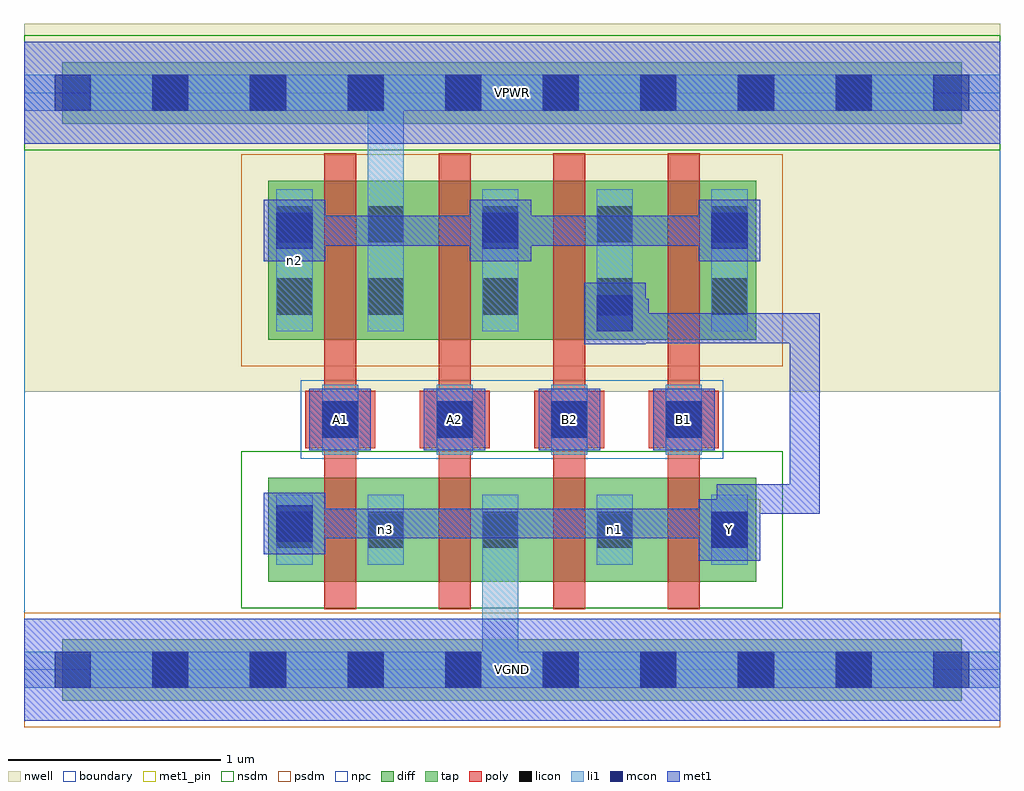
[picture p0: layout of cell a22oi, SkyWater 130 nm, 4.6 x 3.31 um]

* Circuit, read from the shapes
.subckt a22oi A1 A2 B1 B2 VGND VPWR Y n1 n2 n3
XM1 n3 A1 Y VGND sky130_fd_pr__nfet_01v8 w=0.49 l=0.15
XM2 VGND A2 n3 VGND sky130_fd_pr__nfet_01v8 w=0.49 l=0.15
XM3 n1 B2 VGND VGND sky130_fd_pr__nfet_01v8 w=0.49 l=0.15
XM4 Y B1 n1 VGND sky130_fd_pr__nfet_01v8 w=0.49 l=0.15
XM5 VPWR A1 n2 VPWR sky130_fd_pr__pfet_01v8 w=0.75 l=0.15
XM6 n2 A2 VPWR VPWR sky130_fd_pr__pfet_01v8 w=0.75 l=0.15
XM7 Y B2 n2 VPWR sky130_fd_pr__pfet_01v8 w=0.75 l=0.15
XM8 n2 B1 Y VPWR sky130_fd_pr__pfet_01v8 w=0.75 l=0.15
.ends

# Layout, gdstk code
import gdstk
lib = gdstk.Library(unit=1e-6, precision=1e-09)
def R(c, l, rs):  # rectangles x0, y0, x1, y1
    for r in rs: c.add(gdstk.rectangle(r[:2], r[2:], *l))
def A(c, l, x, y, w, h, nx, ny, dx, dy):  # array of equal rectangles
    R(c, l, [(x+i*dx, y+j*dy, x+i*dx+w, y+j*dy+h) for i in range(nx) for j in range(ny)])
nwell = (64, 20)
diff = (65, 20)
tap = (65, 44)
poly = (66, 20)
licon = (66, 44)
li1 = (67, 20)
mcon = (67, 44)
met1_pin = (68, 16)
met1 = (68, 20)
nsdm = (93, 44)
psdm = (94, 20)
npc = (95, 20)
boundary = (235, 4)

a22oi = lib.new_cell('a22oi')
R(a22oi, nwell, [(0,1.31,4.6,3.045)])
R(a22oi, diff, [(1.15,0.415,3.45,0.905), (1.15,1.555,3.45,2.305)])
R(a22oi, tap, [(0.18,-0.145,4.42,0.145), (0.18,2.575,4.42,2.865)])
A(a22oi, poly, 1.415, 0.285, 0.15, 2.15, 4, 1, 0.54, 0)
A(a22oi, poly, 1.325, 1.045, 0.33, 0.27, 4, 1, 0.54, 0)
A(a22oi, licon, 0.605, -0.085, 0.17, 0.17, 8, 2, 0.46, 2.72)
A(a22oi, licon, 1.62, 0.575, 0.17, 0.17, 4, 2, 0.54, 1.1)
A(a22oi, licon, 1.405, 1.095, 0.17, 0.17, 4, 1, 0.54, 0)
A(a22oi, licon, 1.62, 2.015, 0.17, 0.17, 4, 1, 0.54, 0)
R(a22oi, licon, [(1.19,0.575,1.36,0.745), (1.19,1.675,1.36,1.845), (1.19,2.015,1.36,2.185)])
A(a22oi, li1, 1.62, 0.495, 0.17, 0.33, 4, 1, 0.54, 0)
A(a22oi, li1, 1.405, 1.015, 0.17, 0.33, 4, 1, 0.54, 0)
A(a22oi, li1, 1.62, 1.595, 0.17, 0.67, 4, 1, 0.54, 0)
R(a22oi, li1, [(0,-0.085,4.6,0.085), (2.16,-0.085,2.33,0.825), (1.19,0.495,1.36,0.825), (1.19,1.595,1.36,2.265), (1.62,1.595,1.79,2.805), (0,2.635,4.6,2.805)])
A(a22oi, mcon, 0.145, -0.085, 0.17, 0.17, 10, 2, 0.46, 2.72)
A(a22oi, mcon, 1.405, 1.095, 0.17, 0.17, 4, 1, 0.54, 0)
R(a22oi, mcon, [(3.24,0.575,3.41,0.745), (1.19,0.605,1.36,0.775), (2.7,1.595,2.87,1.765), (1.19,1.985,1.36,2.155), (2.16,1.985,2.33,2.155), (3.24,1.985,3.41,2.155)])
A(a22oi, met1_pin, 1.345, 1.035, 0.29, 0.29, 4, 1, 0.54, 0)
R(a22oi, met1_pin, [(0,-0.24,4.6,0.24), (3.18,0.515,3.47,0.805), (0,2.48,4.6,2.96)])
A(a22oi, met1, 1.345, 1.035, 0.29, 0.29, 4, 1, 0.54, 0)
R(a22oi, met1, [(0,-0.24,4.6,0.24), (3.18,0.515,3.47,0.805), (1.13,0.545,1.42,0.835), (1.205,0.62,1.45,0.76), (1.31,0.62,3.405,0.76), (3.265,0.62,3.405,0.76), (3.265,0.62,3.405,0.875), (3.265,0.735,3.75,0.875), (3.61,0.735,3.75,1.68), (2.64,1.535,2.93,1.825), (2.805,1.54,2.945,1.75), (2.805,1.54,3.75,1.68), (2.715,1.61,2.945,1.75), (1.13,1.925,1.42,2.215), (2.1,1.925,2.39,2.215), (3.18,1.925,3.47,2.215), (1.205,2,1.45,2.14), (1.31,2,2.485,2.14), (2.175,2,2.485,2.14), (2.345,2,3.29,2.14), (3.15,2,3.395,2.14), (0,2.48,4.6,2.96)])
R(a22oi, nsdm, [(1.025,0.29,3.575,1.03), (0,2.45,4.6,2.99)])
R(a22oi, psdm, [(0,-0.27,4.6,0.27), (1.025,1.43,3.575,2.43)])
R(a22oi, npc, [(1.305,0.995,3.295,1.365)])
R(a22oi, boundary, [(0,0,4.6,2.72)])
a22oi.add(gdstk.Label('n3', (1.705,0.66), layer=67, texttype=5))
a22oi.add(gdstk.Label('n1', (2.785,0.66), layer=67, texttype=5))
a22oi.add(gdstk.Label('n2', (1.275,1.93), layer=67, texttype=5))
a22oi.add(gdstk.Label('A1', (1.49,1.18), layer=68, texttype=5))
a22oi.add(gdstk.Label('A2', (2.03,1.18), layer=68, texttype=5))
a22oi.add(gdstk.Label('B1', (3.11,1.18), layer=68, texttype=5))
a22oi.add(gdstk.Label('B2', (2.57,1.18), layer=68, texttype=5))
a22oi.add(gdstk.Label('Y', (3.325,0.66), layer=68, texttype=5))
a22oi.add(gdstk.Label('VPWR', (2.3,2.72), layer=68, texttype=5))
a22oi.add(gdstk.Label('VGND', (2.3,0), layer=68, texttype=5))
a22oi.add(gdstk.Label('A1', (1.49,1.18), layer=68, texttype=16))
a22oi.add(gdstk.Label('A2', (2.03,1.18), layer=68, texttype=16))
a22oi.add(gdstk.Label('B1', (3.11,1.18), layer=68, texttype=16))
a22oi.add(gdstk.Label('B2', (2.57,1.18), layer=68, texttype=16))
a22oi.add(gdstk.Label('Y', (3.325,0.66), layer=68, texttype=16))
a22oi.add(gdstk.Label('VPWR', (2.3,2.72), layer=68, texttype=16))
a22oi.add(gdstk.Label('VGND', (2.3,0), layer=68, texttype=16))

lib.write_gds('a22oi.gds')
